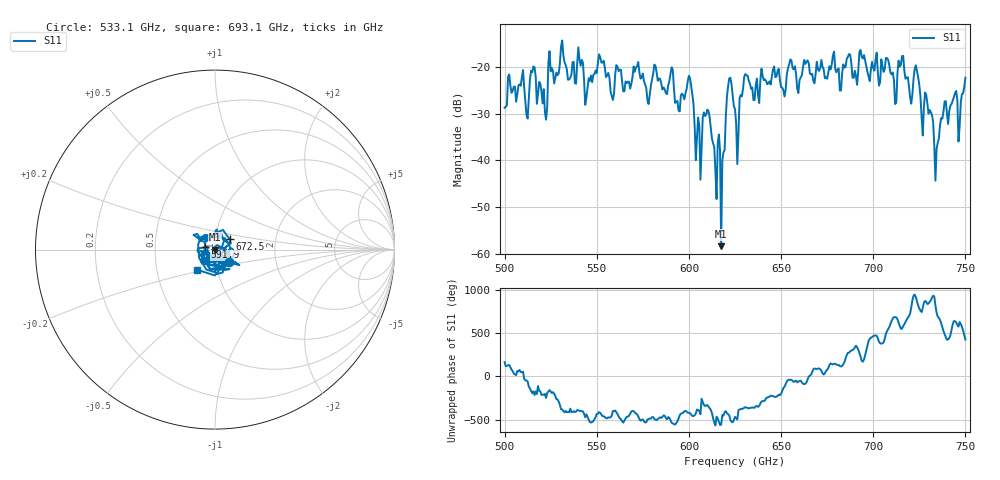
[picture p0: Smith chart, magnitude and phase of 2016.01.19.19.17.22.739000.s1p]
!Created with skrf (http://scikit-rf.org).
# GHz S RI R 50.0
!freq ReS11 ImS11
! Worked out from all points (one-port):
!   401 points, 500 GHz to 750 GHz, reference 50 ohm
!   lowest |S11| = -58.3 dB at 617.5 GHz (marker M1), VSWR 1.00, Z = 49.9 + j0.0398 ohm
!   |S11| at or under -10 dB: start of sweep to end of sweep
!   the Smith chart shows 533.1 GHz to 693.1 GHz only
!   S11 on the Smith chart (normalised r, x): 533.1 GHz: 1.16, -0.16; 591.9 GHz: 0.89, +0.02; 672.5 GHz: 1.17, +0.14; 693.1 GHz: 0.80, -0.18
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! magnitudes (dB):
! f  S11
! 500 GHz  -28.7
! 508.8 GHz  -24.1
! 511.9 GHz  -30.3
! 515.6 GHz  -19.9
! 521.9 GHz  -29.7
! 525 GHz  -21.0
! 531.2 GHz  -14.4
! 533.1 GHz  -19.6
! 562.5 GHz  -20.6
! 591.9 GHz  -24.6
! 593.8 GHz  -27.3
! 600.6 GHz  -22.5
! 605 GHz  -30.8
! 610 GHz  -29.1
! 617.5 GHz  -58.3
! 621.9 GHz  -22.5
! 625 GHz  -29.1
! 631.2 GHz  -21.9
! 656.2 GHz  -20.3
! 672.5 GHz  -20.0
! 687.5 GHz  -17.4
! 693.1 GHz  -16.4
! 718.8 GHz  -22.2
! 723.8 GHz  -21.0
! 734.4 GHz  -37.5
! 738.1 GHz  -29.5
! 747.5 GHz  -27.6
! 750 GHz  -22.3
